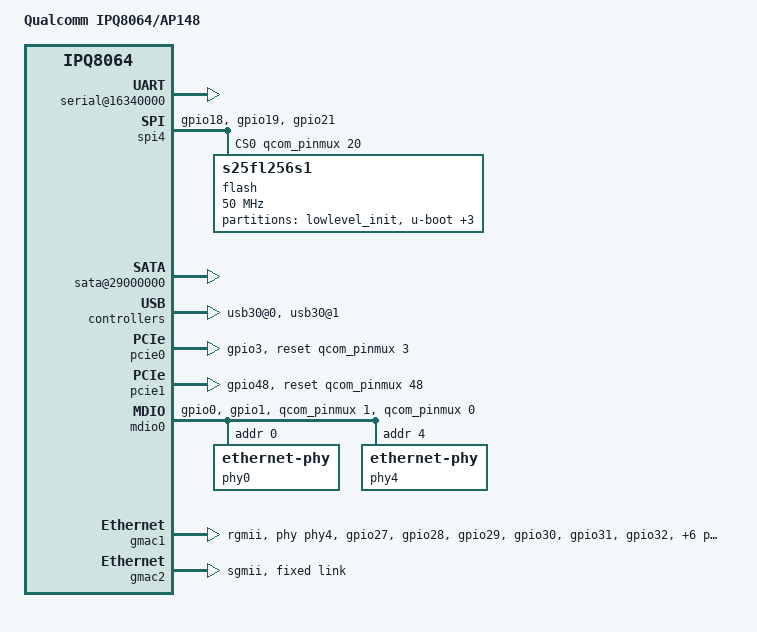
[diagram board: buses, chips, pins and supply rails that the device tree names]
#include "qcom-ipq8064-v1.0.dtsi"

/ {
	model = "Qualcomm IPQ8064/AP148";
	compatible = "qcom,ipq8064-ap148", "qcom,ipq8064";

	reserved-memory {
		#address-cells = <1>;
		#size-cells = <1>;
		ranges;
		rsvd@41200000 {
			reg = <0x41200000 0x300000>;
			no-map;
		};
	};

	aliases {
		serial0 = &uart4;
		mdio-gpio0 = &mdio0;
	};

	chosen {
		linux,stdout-path = "serial0:115200n8";
	};

	soc {
		pinmux@800000 {
			i2c4_pins: i2c4_pinmux {
				pins = "gpio12", "gpio13";
				function = "gsbi4";
				bias-disable;
			};

			pcie1_pins: pcie1_pinmux {
				mux {
					pins = "gpio3";
					drive-strength = <2>;
					bias-disable;
				};
			};

			pcie2_pins: pcie2_pinmux {
				mux {
					pins = "gpio48";
					drive-strength = <2>;
					bias-disable;
				};
			};

			spi_pins: spi_pins {
				mux {
					pins = "gpio18", "gpio19", "gpio21";
					function = "gsbi5";
					drive-strength = <10>;
					bias-none;
				};
			};

			mdio0_pins: mdio0_pins {
				mux {
					pins = "gpio0", "gpio1";
					function = "gpio";
					drive-strength = <8>;
					bias-disable;
				};
			};

			rgmii2_pins: rgmii2_pins {
				mux {
					pins = "gpio27", "gpio28", "gpio29", "gpio30", "gpio31", "gpio32",
					       "gpio51", "gpio52", "gpio59", "gpio60", "gpio61", "gpio62" ;
					function = "rgmii2";
					drive-strength = <8>;
					bias-disable;
				};
			};
		};

		gsbi@16300000 {
			qcom,mode = <GSBI_PROT_I2C_UART>;
			status = "ok";
			serial@16340000 {
				status = "ok";
			};
			/*
			 * The i2c device on gsbi4 should not be enabled.
			 * On ipq806x designs gsbi4 i2c is meant for exclusive
			 * RPM usage. Turning this on in kernel manifests as
			 * i2c failure for the RPM.
			 */
		};

		gsbi5: gsbi@1a200000 {
			qcom,mode = <GSBI_PROT_SPI>;
			status = "ok";

			spi4: spi@1a280000 {
				status = "ok";
				spi-max-frequency = <50000000>;

				pinctrl-0 = <&spi_pins>;
				pinctrl-names = "default";

				cs-gpios = <&qcom_pinmux 20 0>;

				flash: m25p80@0 {
					compatible = "s25fl256s1";
					#address-cells = <1>;
					#size-cells = <1>;
					spi-max-frequency = <50000000>;
					reg = <0>;

					partition@0 {
						label = "lowlevel_init";
						reg = <0x0 0x1b0000>;
					};

					partition@1 {
						label = "u-boot";
						reg = <0x1b0000 0x80000>;
					};

					partition@2 {
						label = "u-boot-env";
						reg = <0x230000 0x40000>;
					};

					partition@3 {
						label = "caldata";
						reg = <0x270000 0x40000>;
					};

					partition@4 {
						label = "firmware";
						reg = <0x2b0000 0x1d50000>;
					};
				};
			};
		};

		sata-phy@1b400000 {
			status = "ok";
		};

		sata@29000000 {
			status = "ok";
		};

		phy@100f8800 {		/* USB3 port 1 HS phy */
			status = "ok";
		};

		phy@100f8830 {		/* USB3 port 1 SS phy */
			status = "ok";
		};

		phy@110f8800 {		/* USB3 port 0 HS phy */
			status = "ok";
		};

		phy@110f8830 {		/* USB3 port 0 SS phy */
			status = "ok";
		};

		usb30@0 {
			status = "ok";
		};

		usb30@1 {
			status = "ok";
		};

		pcie0: pci@1b500000 {
			status = "ok";
			reset-gpio = <&qcom_pinmux 3 0>;
			pinctrl-0 = <&pcie1_pins>;
			pinctrl-names = "default";
		};

		pcie1: pci@1b700000 {
			status = "ok";
			reset-gpio = <&qcom_pinmux 48 0>;
			pinctrl-0 = <&pcie2_pins>;
			pinctrl-names = "default";
		};

		mdio0: mdio {
			compatible = "virtual,mdio-gpio";
			#address-cells = <1>;
			#size-cells = <0>;
			gpios = <&qcom_pinmux 1 0 &qcom_pinmux 0 0>;
			pinctrl-0 = <&mdio0_pins>;
			pinctrl-names = "default";

			phy0: ethernet-phy@0 {
				device_type = "ethernet-phy";
				reg = <0>;
				qca,ar8327-initvals = <
					0x00004 0x7600000   /* PAD0_MODE */
					0x00008 0x1000000   /* PAD5_MODE */
					0x0000c 0x80        /* PAD6_MODE */
					0x000e4 0xaa545     /* MAC_POWER_SEL */
					0x000e0 0xc74164de  /* SGMII_CTRL */
					0x0007c 0x4e        /* PORT0_STATUS */
					0x00094 0x4e        /* PORT6_STATUS */
					>;
			};

			phy4: ethernet-phy@4 {
				device_type = "ethernet-phy";
				reg = <4>;
			};
		};

		gmac1: ethernet@37200000 {
			status = "ok";
			phy-mode = "rgmii";
			phy-handle = <&phy4>;
			qcom,id = <1>;

			pinctrl-0 = <&rgmii2_pins>;
			pinctrl-names = "default";
		};

		gmac2: ethernet@37400000 {
			status = "ok";
			phy-mode = "sgmii";
			qcom,id = <2>;

			fixed-link {
				speed = <1000>;
				full-duplex;
			};
		};
	};
};
